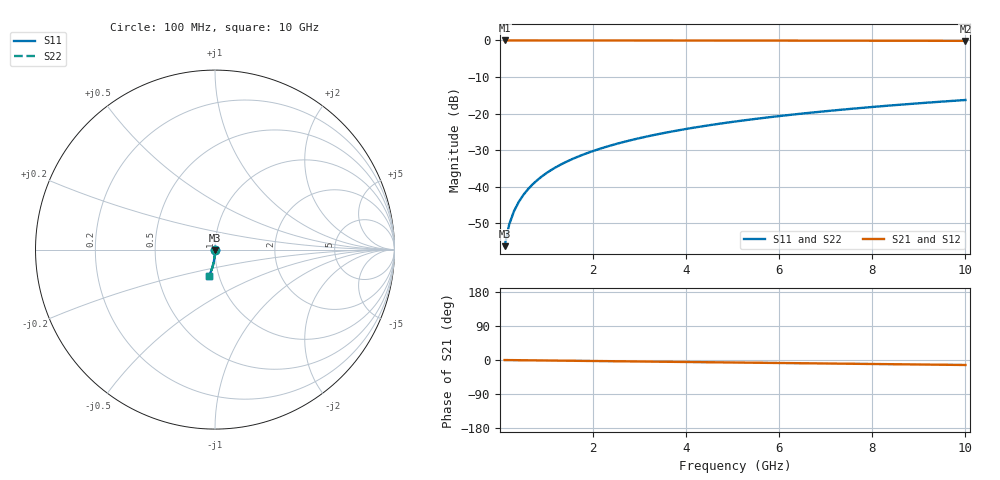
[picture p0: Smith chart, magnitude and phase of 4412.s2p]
# Hz S RI R 50.00
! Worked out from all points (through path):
!   100 points, 100 MHz to 10 GHz, reference 50 ohm
!   highest |S21| = 0.00 dB at 100 MHz (marker M1); lowest = -0.1 dB at 10 GHz (marker M2)
!   group delay of S21, straight-line fit = 3.66 ps
!   lowest |S11| = -56.2 dB at 100 MHz (marker M3), VSWR 1.00, Z = 50 - j0.154 ohm
!   |S11| at or under -10 dB: start of sweep to end of sweep
!   |S22| runs from -56.2 to -16.3 dB; largest |S21 - S12| = 0
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1e8  0.000122 -0.00154  0.9999 -0.00228  0.9999 -0.00228  0.000122 -0.00154
2e8  0.00011 -0.00308  0.9999 -0.00457  0.9999 -0.00457  0.00011 -0.00308
3e8  9.15e-05 -0.00462  0.9998 -0.00685  0.9998 -0.00685  9.15e-05 -0.00462
4e8  6.55e-05 -0.00616  0.9998 -0.00913  0.9998 -0.00913  6.55e-05 -0.00616
5e8  3.25e-05 -0.0077  0.9998 -0.0114  0.9998 -0.0114  3.25e-05 -0.0077
6e8  -7.66e-06 -0.00924  0.9997 -0.0137  0.9997 -0.0137  -7.66e-06 -0.00924
7e8  -5.49e-05 -0.0108  0.9997 -0.016  0.9997 -0.016  -5.49e-05 -0.0108
8e8  -0.000109 -0.0123  0.9996 -0.0183  0.9996 -0.0183  -0.000109 -0.0123
9e8  -0.000171 -0.0139  0.9995 -0.0205  0.9995 -0.0205  -0.000171 -0.0139
1.1e9  -0.000314 -0.0169  0.9994 -0.0251  0.9994 -0.0251  -0.000314 -0.0169
1.4e9  -0.000583 -0.0216  0.9991 -0.032  0.9991 -0.032  -0.000583 -0.0216
1.8e9  -0.00104 -0.0277  0.9986 -0.0411  0.9986 -0.0411  -0.00104 -0.0277
2.1e9  -0.00146 -0.0323  0.9982 -0.048  0.9982 -0.048  -0.00146 -0.0323
2.5e9  -0.00211 -0.0385  0.9974 -0.0571  0.9974 -0.0571  -0.00211 -0.0385
2.9e9  -0.00288 -0.0446  0.9966 -0.0662  0.9966 -0.0662  -0.00288 -0.0446
3.4e9  -0.004 -0.0523  0.9954 -0.0776  0.9954 -0.0776  -0.004 -0.0523
4.2e9  -0.00616 -0.0645  0.9931 -0.0958  0.9931 -0.0958  -0.00616 -0.0645
5.1e9  -0.00913 -0.0782  0.9899 -0.1162  0.9899 -0.1162  -0.00913 -0.0782
5.9e9  -0.0122 -0.0902  0.9865 -0.1343  0.9865 -0.1343  -0.0122 -0.0902
6.7e9  -0.0158 -0.1021  0.9827 -0.1522  0.9827 -0.1522  -0.0158 -0.1021
8.4e9  -0.0248 -0.1269  0.9729 -0.19  0.9729 -0.19  -0.0248 -0.1269
1e10  -0.035 -0.1495  0.9619 -0.2248  0.9619 -0.2248  -0.035 -0.1495
